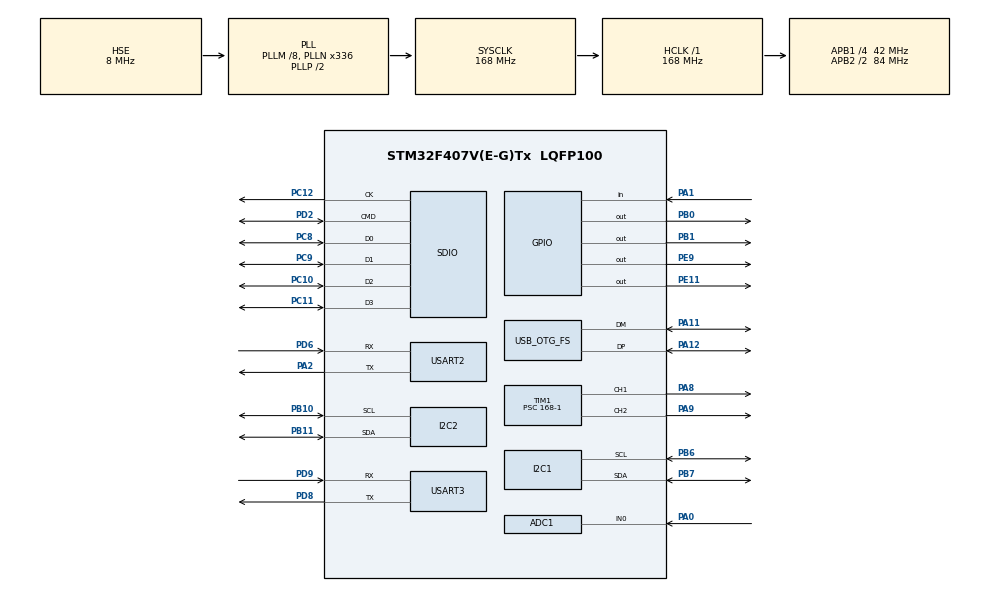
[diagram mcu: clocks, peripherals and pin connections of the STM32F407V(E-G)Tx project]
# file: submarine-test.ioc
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ADC1.Channel-2\#ChannelRegularConversion=ADC_CHANNEL_0
ADC1.NbrOfConversionFlag=1
ADC1.Rank-2\#ChannelRegularConversion=1
ADC1.SamplingTime-2\#ChannelRegularConversion=ADC_SAMPLETIME_3CYCLES
ADC1.master=1
Dma.Request0=SDIO_RX
Dma.Request1=SDIO_TX
Dma.SDIO_RX.0.Direction=DMA_PERIPH_TO_MEMORY
Dma.SDIO_RX.0.FIFOMode=DMA_FIFOMODE_ENABLE
Dma.SDIO_RX.0.FIFOThreshold=DMA_FIFO_THRESHOLD_FULL
Dma.SDIO_RX.0.Instance=DMA2_Stream3
Dma.SDIO_RX.0.MemBurst=DMA_MBURST_INC4
Dma.SDIO_RX.0.MemDataAlignment=DMA_MDATAALIGN_WORD
Dma.SDIO_RX.0.MemInc=DMA_MINC_ENABLE
Dma.SDIO_RX.0.Mode=DMA_PFCTRL
Dma.SDIO_RX.0.PeriphBurst=DMA_PBURST_INC4
Dma.SDIO_RX.0.PeriphDataAlignment=DMA_PDATAALIGN_WORD
Dma.SDIO_RX.0.PeriphInc=DMA_PINC_DISABLE
Dma.SDIO_RX.0.Priority=DMA_PRIORITY_LOW
Dma.SDIO_TX.1.Direction=DMA_MEMORY_TO_PERIPH
Dma.SDIO_TX.1.FIFOMode=DMA_FIFOMODE_ENABLE
Dma.SDIO_TX.1.FIFOThreshold=DMA_FIFO_THRESHOLD_FULL
Dma.SDIO_TX.1.Instance=DMA2_Stream6
Dma.SDIO_TX.1.MemBurst=DMA_MBURST_INC4
Dma.SDIO_TX.1.MemDataAlignment=DMA_MDATAALIGN_WORD
Dma.SDIO_TX.1.MemInc=DMA_MINC_ENABLE
Dma.SDIO_TX.1.Mode=DMA_PFCTRL
Dma.SDIO_TX.1.PeriphBurst=DMA_PBURST_INC4
Dma.SDIO_TX.1.PeriphDataAlignment=DMA_PDATAALIGN_WORD
Dma.SDIO_TX.1.PeriphInc=DMA_PINC_DISABLE
Dma.SDIO_TX.1.Priority=DMA_PRIORITY_LOW
FATFS._MAX_SS=4096
FATFS._USE_LFN=1
Mcu.Family=STM32F4
Mcu.Name=STM32F407V(E-G)Tx
Mcu.Package=LQFP100
NVIC.DMA2_Stream3_IRQn=true\:0\:0\:false\:false\:true\:false\:true\:true
NVIC.DMA2_Stream6_IRQn=true\:0\:0\:false\:false\:true\:false\:true\:true
NVIC.OTG_FS_IRQn=true\:0\:0\:false\:false\:true\:false\:true\:true
NVIC.PriorityGroup=NVIC_PRIORITYGROUP_4
NVIC.SDIO_IRQn=true\:0\:0\:false\:false\:true\:true\:true\:true
NVIC.USART2_IRQn=true\:0\:0\:false\:false\:true\:true\:true\:true
NVIC.USART3_IRQn=true\:0\:0\:false\:false\:true\:true\:true\:true
PA0-WKUP.Signal=ADCx_IN0
PA1.Signal=GPIO_Input
PA11.Mode=Device_Only
PA11.Signal=USB_OTG_FS_DM
PA12.Mode=Device_Only
PA12.Signal=USB_OTG_FS_DP
PA13.Mode=Trace_Asynchronous_SW
PA13.Signal=SYS_JTMS-SWDIO
PA14.Mode=Trace_Asynchronous_SW
PA14.Signal=SYS_JTCK-SWCLK
PA2.Mode=Asynchronous
PA2.Signal=USART2_TX
PA8.Signal=S_TIM1_CH1
PA9.Signal=S_TIM1_CH2
PB0.Signal=GPIO_Output
PB1.Signal=GPIO_Output
PB10.Mode=I2C
PB10.Signal=I2C2_SCL
PB11.Mode=I2C
PB11.Signal=I2C2_SDA
PB3.Mode=Trace_Asynchronous_SW
PB3.Signal=SYS_JTDO-SWO
PB6.Mode=I2C
PB6.Signal=I2C1_SCL
PB7.Mode=I2C
PB7.Signal=I2C1_SDA
PC10.Mode=SD_4_bits_Wide_bus
PC10.Signal=SDIO_D2
PC11.Mode=SD_4_bits_Wide_bus
PC11.Signal=SDIO_D3
PC12.Mode=SD_4_bits_Wide_bus
PC12.Signal=SDIO_CK
PC8.Mode=SD_4_bits_Wide_bus
PC8.Signal=SDIO_D0
PC9.Mode=SD_4_bits_Wide_bus
PC9.Signal=SDIO_D1
PD2.Mode=SD_4_bits_Wide_bus
PD2.Signal=SDIO_CMD
PD6.Mode=Asynchronous
PD6.Signal=USART2_RX
PD8.Mode=Asynchronous
PD8.Signal=USART3_TX
PD9.Mode=Asynchronous
PD9.Signal=USART3_RX
PE11.Signal=GPIO_Output
PE9.Signal=GPIO_Output
PH0-OSC_IN.Mode=HSE-External-Oscillator
PH0-OSC_IN.Signal=RCC_OSC_IN
PH1-OSC_OUT.Mode=HSE-External-Oscillator
PH1-OSC_OUT.Signal=RCC_OSC_OUT
ProjectManager.HeapSize=0x200
ProjectManager.StackSize=0x400
ProjectManager.TargetToolchain=STM32CubeIDE
RCC.48MHZClocksFreq_Value=48000000
RCC.AHBFreq_Value=168000000
RCC.APB1CLKDivider=RCC_HCLK_DIV4
RCC.APB1Freq_Value=42000000
RCC.APB1TimFreq_Value=84000000
RCC.APB2CLKDivider=RCC_HCLK_DIV2
RCC.APB2Freq_Value=84000000
RCC.APB2TimFreq_Value=168000000
RCC.CortexFreq_Value=168000000
RCC.HCLKFreq_Value=168000000
RCC.HSE_VALUE=8000000
RCC.HSI_VALUE=16000000
RCC.LSE_VALUE=32768
RCC.PLLM=8
RCC.PLLN=336
RCC.PLLQ=7
RCC.SYSCLKFreq_VALUE=168000000
RCC.SYSCLKSource=RCC_SYSCLKSOURCE_PLLCLK
RCC.VCOOutputFreq_Value=336000000
SH.ADCx_IN0.0=ADC1_IN0,IN0
SH.S_TIM1_CH1.0=TIM1_CH1,PWM Generation1 CH1
SH.S_TIM1_CH2.0=TIM1_CH2,PWM Generation2 CH2
TIM1.Channel-PWM\ Generation1\ CH1=TIM_CHANNEL_1
TIM1.Channel-PWM\ Generation2\ CH2=TIM_CHANNEL_2
TIM1.Period=1000
TIM1.Prescaler=168-1
TIM2.Period=65535
TIM2.Prescaler=168-1
USART2.VirtualMode=VM_ASYNC
USART3.VirtualMode=VM_ASYNC
USB_DEVICE.CLASS_NAME_FS=CDC
USB_DEVICE.VirtualMode-CDC_FS=Cdc
USB_DEVICE.VirtualModeFS=Cdc_FS
USB_OTG_FS.VirtualMode=Device_Only
VP_FATFS_VS_SDIO.Mode=SDIO
VP_RTC_VS_RTC_Activate.Mode=RTC_Enabled
VP_RTC_VS_RTC_Calendar.Mode=RTC_Calendar
VP_TIM2_VS_ClockSourceINT.Mode=Internal
VP_USB_DEVICE_VS_USB_DEVICE_CDC_FS.Mode=CDC_FS
board=custom

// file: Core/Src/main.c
/* USER CODE BEGIN Header */
/**
  ******************************************************************************
  * @file           : main.c
  * @brief          : Main program body
  ******************************************************************************
  * @attention
  *
  * Copyright (c) 2025 STMicroelectronics.
  * All rights reserved.
  *
  * This software is licensed under terms that can be found in the LICENSE file
  * in the root directory of this software component.
  * If no LICENSE file comes with this software, it is provided AS-IS.
  *
  ******************************************************************************
  */
/* USER CODE END Header */
#include "main.h"
#include "fatfs.h"
#include "usb_device.h"

/* USER CODE BEGIN Includes */
#include <stdio.h>
#include <string.h>
#include <stdlib.h>
#include <stdbool.h>
#include <math.h>
#include "usbd_cdc_if.h"
#include "app/esp32_comm.h"
#include "app/app.h"
#include "app/stm32_sdlog_receiver.h"

extern RTC_HandleTypeDef hrtc; // (Uncomment after generating RTC in CubeMX)
/* USER CODE END Includes */

/* USER CODE BEGIN PD */
#define UART_HANDLE huart2
#define RX_BUFFER_SIZE 128
/* USER CODE END PD */

ADC_HandleTypeDef hadc1;

I2C_HandleTypeDef hi2c1;
I2C_HandleTypeDef hi2c2;

RTC_HandleTypeDef hrtc;

SD_HandleTypeDef hsd;
DMA_HandleTypeDef hdma_sdio_rx;
DMA_HandleTypeDef hdma_sdio_tx;

TIM_HandleTypeDef htim1;
TIM_HandleTypeDef htim2;

UART_HandleTypeDef huart2;
UART_HandleTypeDef huart3;

/* USER CODE BEGIN PV */
    // Check current mode
volatile bool g_esp_line_received = false;
char g_esp_process_buffer[RX_BUFFER_SIZE];
GliderState g_glider_state; // Global glider state variable

// --- Non-blocking Delay Variables ---
uint32_t g_last_tx_time = 0;
const uint32_t TX_INTERVAL_MS = 1000; // 1 second (Changed back from 1 minute)
    // Check calibration status
// --- IMU Variables ---
uint8_t bno_data[6];
uint8_t mpu_data[14];
int16_t raw_pitch, raw_roll, raw_yaw;
float pitch, roll, yaw;
uint8_t bno_i2c_addr = 0x28;  // Default BNO055 address
uint8_t mpu_i2c_addr = 0x69;  // MPU9250 address confirmed by user
uint8_t mag_i2c_addr = 0x0C;  // MPU9250 Magnetometer address
bool is_mpu9250 = false;

// UART RX (used if UART interrupt re-enabled)
uint8_t g_rx_data;
uint8_t g_rx_buffer[RX_BUFFER_SIZE];
uint16_t g_rx_index = 0;
uint8_t esp_rx_data;
uint8_t esp_rx_buffer[RX_BUFFER_SIZE];
uint16_t esp_rx_index = 0;
uint32_t g_esp_total_bytes = 0; // ESP32 total received bytes check

volatile bool g_line_received = false;
char g_process_buffer[RX_BUFFER_SIZE];

// Uncomment the below variables after generating FATFS in CubeMX
    // Check current mode
// FIL file;
// FRESULT fres;
/* USER CODE END PV */

void SystemClock_Config(void);
static void MX_GPIO_Init(void);
static void MX_DMA_Init(void);
static void MX_USART2_UART_Init(void);
static void MX_TIM2_Init(void);
static void MX_I2C1_Init(void);
static void MX_ADC1_Init(void);
static void MX_I2C2_Init(void);
static void MX_TIM1_Init(void);
static void MX_USART3_UART_Init(void);
static void MX_RTC_Init(void);
static void MX_SDIO_SD_Init(void);
/* USER CODE BEGIN PFP */
void ESP32_Process_Data(const char* data);
void send_log(const char* message);
/* USER CODE END PFP */

int main(void)
{

  /* USER CODE BEGIN 1 */
  uint32_t adc_raw = 0;
  float oxygen_voltage = 0.0f;
  /* USER CODE END 1 */

  /* MCU Configuration--------------------------------------------------------*/

  /* Reset of all peripherals, Initializes the Flash interface and the Systick. */
  HAL_Init();

  /* Configure the system clock */
  SystemClock_Config();

  /* Initialize all configured peripherals */
  MX_GPIO_Init();
  MX_DMA_Init();
  MX_USB_DEVICE_Init();
  MX_USART2_UART_Init();
  MX_TIM2_Init();
  MX_I2C1_Init();
  MX_ADC1_Init();
  MX_I2C2_Init();
  MX_TIM1_Init();
  MX_USART3_UART_Init();
  MX_RTC_Init();
  MX_SDIO_SD_Init();
  MX_FATFS_Init();
  /* USER CODE BEGIN 2 */
  if (sdlog_init() == HAL_OK) {         // (Added)
       send_log("[SD] SD card mounted OK\r\n");
   } else {
       send_log("[SD] SD card mount FAILED\r\n");
   }
  /* USER CODE BEGIN 2 */
  // Initialize glider state
  memset(&g_glider_state, 0, sizeof(GliderState));
  g_glider_state.status = 0; // 0: Normal
  g_glider_state.is_motor_on = false;
  App_Init();
  // Initialize random seed
  srand(HAL_GetTick());

  // Start UART reception in interrupt mode
  HAL_UART_Receive_IT(&huart2, &g_rx_data, 1);

  HAL_UART_Receive_IT(&huart3, &esp_rx_data, 1);
  send_log("--- SYSTEM READY (115200 BAUD) ---\r\n");
  // Scan I2C bus for devices
  send_log("[I2C] Scanning bus...\r\n");
  HAL_Delay(100);
  int found = 0;
  for(uint8_t addr = 1; addr < 128; addr++)
  {
      if(HAL_I2C_IsDeviceReady(&hi2c1, addr << 1, 1, 10) == HAL_OK)
      {
          char msg[50];
          snprintf(msg, sizeof(msg), "[I2C] Device found at 0x%02X\r\n", addr);
          send_log(msg);
          found++;
      }
  }
  if(found == 0)
  {
      send_log("[I2C] No devices found - check wiring!\r\n");
  }

  // Check detected addresses (0x0C, 0x69 might be MPU9250)
  if (found > 0) {
      send_log("[INFO] 0x69/0x0C detected? (Possible MPU9250)\r\n");
  }

  // Initialize BNO055 IMU
  HAL_Delay(100);
  uint8_t bno_id = 0;

  // Try address 0x28 first
  if(HAL_I2C_Mem_Read(&hi2c1, (0x28 << 1), 0x00, 1, &bno_id, 1, 100) == HAL_OK && bno_id == 0xA0)
  {
      bno_i2c_addr = 0x28;
      send_log("[IMU] BNO055 detected at 0x28\r\n");

      // Set to CONFIG mode
      uint8_t config_mode = 0x00;
      HAL_I2C_Mem_Write(&hi2c1, (bno_i2c_addr << 1), 0x3D, 1, &config_mode, 1, 100);
      HAL_Delay(25);

      // Set to NDOF mode (9-axis fusion)
      uint8_t ndof_mode = 0x0C;
      HAL_I2C_Mem_Write(&hi2c1, (bno_i2c_addr << 1), 0x3D, 1, &ndof_mode, 1, 100);
      HAL_Delay(100);  // Increased delay for sensor stabilization

      // Check current mode
      uint8_t current_mode = 0;
      HAL_I2C_Mem_Read(&hi2c1, (bno_i2c_addr << 1), 0x3D, 1, &current_mode, 1, 100);
      char mode_msg[50];
      snprintf(mode_msg, sizeof(mode_msg), "[IMU] Mode: 0x%02X\r\n", current_mode);
      send_log(mode_msg);

      // Check calibration status
      uint8_t calib = 0;
      HAL_I2C_Mem_Read(&hi2c1, (bno_i2c_addr << 1), 0x35, 1, &calib, 1, 100);
      char calib_msg[50];
      snprintf(calib_msg, sizeof(calib_msg), "[IMU] Calib: 0x%02X\r\n", calib);
      send_log(calib_msg);

      send_log("[IMU] Initialized OK\r\n");
  }
  // Try address 0x29
  else if(HAL_I2C_Mem_Read(&hi2c1, (0x29 << 1), 0x00, 1, &bno_id, 1, 100) == HAL_OK && bno_id == 0xA0)
  {
      bno_i2c_addr = 0x29;
      send_log("[IMU] BNO055 detected at 0x29\r\n");

      uint8_t config_mode = 0x00;
      HAL_I2C_Mem_Write(&hi2c1, (bno_i2c_addr << 1), 0x3D, 1, &config_mode, 1, 100);
      HAL_Delay(25);

      uint8_t ndof_mode = 0x0C;
      HAL_I2C_Mem_Write(&hi2c1, (bno_i2c_addr << 1), 0x3D, 1, &ndof_mode, 1, 100);
      HAL_Delay(100);  // Increased delay

      // Check current mode
      uint8_t current_mode = 0;
      HAL_I2C_Mem_Read(&hi2c1, (bno_i2c_addr << 1), 0x3D, 1, &current_mode, 1, 100);
      char mode_msg[50];
      snprintf(mode_msg, sizeof(mode_msg), "[IMU] Mode: 0x%02X\r\n", current_mode);
      send_log(mode_msg);

      send_log("[IMU] Initialized OK at 0x29\r\n");
  }
  else
  {
      send_log("[IMU] BNO055 Not found (0x28/0x29) - Checking for MPU9250...\r\n");

      uint8_t mpu_id = 0;
      // Try reading WHO_AM_I (0x75) from 0x69
      HAL_StatusTypeDef mpu_status = HAL_I2C_Mem_Read(&hi2c1, (mpu_i2c_addr << 1), 0x75, 1, &mpu_id, 1, 100);

      if(mpu_status == HAL_OK && (mpu_id == 0x71 || mpu_id == 0x70 || mpu_id == 0x11))
      {
          is_mpu9250 = true;
          char m_msg[50];
          snprintf(m_msg, sizeof(m_msg), "[IMU] MPU9250 detected! ID: 0x%02X\r\n", mpu_id);
          send_log(m_msg);

          uint8_t data = 0;
          // Reset
          data = 0x80;
          HAL_I2C_Mem_Write(&hi2c1, (mpu_i2c_addr << 1), 0x6B, 1, &data, 1, 100);
          HAL_Delay(100);

          // Wake up, clock source auto
          data = 0x01;
          HAL_I2C_Mem_Write(&hi2c1, (mpu_i2c_addr << 1), 0x6B, 1, &data, 1, 100);
          HAL_Delay(10);

          // Config DLPF
          data = 0x03;
          HAL_I2C_Mem_Write(&hi2c1, (mpu_i2c_addr << 1), 0x1A, 1, &data, 1, 100);

          // Gyro 2000 dps
          data = 0x18;
          HAL_I2C_Mem_Write(&hi2c1, (mpu_i2c_addr << 1), 0x1B, 1, &data, 1, 100);

          // Accel 4g
          data = 0x08;
          HAL_I2C_Mem_Write(&hi2c1, (mpu_i2c_addr << 1), 0x1C, 1, &data, 1, 100);

          // Enable I2C bypass for Magnetometer
          data = 0x02;
          HAL_I2C_Mem_Write(&hi2c1, (mpu_i2c_addr << 1), 0x37, 1, &data, 1, 100);
          HAL_Delay(10);

          // Init Magnetometer (AK8963)
          data = 0x16; // 16-bit output, 100Hz continuous measurement
          if(HAL_I2C_Mem_Write(&hi2c1, (mag_i2c_addr << 1), 0x0A, 1, &data, 1, 100) == HAL_OK)
          {
              send_log("[IMU] AK8963 Magnetometer initialized\r\n");
          }

          send_log("[IMU] MPU9250 Initialized OK\r\n");
      }
      else
      {
          char err_msg[100];
          snprintf(err_msg, sizeof(err_msg), "[IMU] MPU9250 Read Error! Status: %d, ID: 0x%02X\r\n", mpu_status, mpu_id);
          send_log(err_msg);
          send_log("[IMU] No IMU found! (BNO055/MPU9250)\r\n");
      }
  }
  /* USER CODE END 2 */

  /* Infinite loop */
  while (1)
  {

    /* USER CODE BEGIN 3 */
    App_Tick();
    sdlog_task();
    if (g_emergencyAscent) {   // (Added: Emergency ascent processing)
            send_log("[EMERGENCY] Ascent command received!\r\n");
            App_EmergencyAscent();
            g_emergencyAscent = 0;
        }
    // --- TASK: Handle incoming serial data from PC or ESP32 ---
    if (g_line_received) {
            process_serial_command((uint8_t*)g_process_buffer, strlen(g_process_buffer));
            g_line_received = false;
        }

        // --- 🌟 Log all data coming from ESP32 🌟 ---
        if (g_esp_line_received) {
            // [1] Print whatever comes in to PC(UART2) unconditionally!
            char raw_log[RX_BUFFER_SIZE + 32];
            snprintf(raw_log, sizeof(raw_log), ">>> [FROM ESP32]: %s\r\n", g_esp_process_buffer);
            send_log(raw_log);

            // [2] Perform existing data analysis (SDLOG check, etc.)
            ESP32_Process_Data(g_esp_process_buffer);

            // [3] LoRa command relay processing
            if (strncmp(g_esp_process_buffer, "CMD:RUN", 7) == 0) {
                App_SetRunMode(1);
            } else if (strncmp(g_esp_process_buffer, "CMD:STOP", 8) == 0) {
                App_SetRunMode(0);
            }

            g_esp_line_received = false; // Processing complete
        }

    // --- 1. Non-blocking sensor data transmission every second ---
    uint32_t current_time = HAL_GetTick();
    if (current_time - g_last_tx_time >= TX_INTERVAL_MS)
    {
        g_last_tx_time = current_time;

        // --- TASK 1: Periodic Depth Reading & Transmission ---
        float ms5837_depth = 1.5f;
        float ms5837_temp = 20.3f;

        int ms_d_int = (int)ms5837_depth;
        int ms_d_dec = (int)((ms5837_depth - ms_d_int) * 100);
        int ms_t_int = (int)ms5837_temp;
        int ms_t_dec = (int)((ms5837_temp - ms_t_int) * 100);

        char depth_msg[50];
        snprintf(depth_msg, sizeof(depth_msg), "D:%d.%02d,T:%d.%02d\n", ms_d_int, ms_d_dec, ms_t_int, ms_t_dec);
        HAL_UART_Transmit(&huart2, (uint8_t*)depth_msg, strlen(depth_msg), 100);

        // 1. Read IMU data
        if (!is_mpu9250)
        {
            // BNO055 Reading
            HAL_StatusTypeDef status = HAL_I2C_Mem_Read(&hi2c1, (bno_i2c_addr << 1), 0x1A, 1, bno_data, 6, 100);
            if(status == HAL_OK)
            {
                raw_yaw   = (int16_t)((bno_data[1] << 8) | bno_data[0]);
                raw_roll  = (int16_t)((bno_data[3] << 8) | bno_data[2]);
                raw_pitch = (int16_t)((bno_data[5] << 8) | bno_data[4]);

                yaw   = (float)raw_yaw / 16.0f;
                roll  = (float)raw_roll / 16.0f;
                pitch = (float)raw_pitch / 16.0f;
            }
        }
        else
        {
            // MPU9250 Reading (Accel + Gyro)
            if(HAL_I2C_Mem_Read(&hi2c1, (mpu_i2c_addr << 1), 0x3B, 1, mpu_data, 14, 100) == HAL_OK)
            {
                int16_t ax = (int16_t)((mpu_data[0] << 8) | mpu_data[1]);
                int16_t ay = (int16_t)((mpu_data[2] << 8) | mpu_data[3]);
                int16_t az = (int16_t)((mpu_data[4] << 8) | mpu_data[5]);

                pitch = atan2f((float)ay, sqrtf((float)ax*ax + (float)az*az)) * 57.29578f;
                roll  = atan2f(-(float)ax, (float)az) * 57.29578f;

                uint8_t mag_status = 0;
                HAL_I2C_Mem_Read(&hi2c1, (mag_i2c_addr << 1), 0x02, 1, &mag_status, 1, 100);
                if(mag_status & 0x01) {
                    uint8_t mag_data[7];
                    if(HAL_I2C_Mem_Read(&hi2c1, (mag_i2c_addr << 1), 0x03, 1, mag_data, 7, 100) == HAL_OK) {
                        int16_t mx = (int16_t)((mag_data[1] << 8) | mag_data[0]);
                        int16_t my = (int16_t)((mag_data[3] << 8) | mag_data[2]);
                        yaw = atan2f((float)my, (float)mx) * 57.29578f;
                    }
                }

                int p_i = (int)pitch; int p_d = (int)((pitch - p_i) * 10); if(p_d < 0) p_d = -p_d;
                int r_i = (int)roll;  int r_d = (int)((roll - r_i) * 10);  if(r_d < 0) r_d = -r_d;
                int y_i = (int)yaw;   int y_d = (int)((yaw - y_i) * 10);   if(y_d < 0) y_d = -y_d;

                char dbg[100];
                snprintf(dbg, sizeof(dbg), "[MPU] Acc: %d,%d,%d | P:%d.%d R:%d.%d Y:%d.%d\r\n", ax, ay, az, p_i, p_d, r_i, r_d, y_i, y_d);
                send_log(dbg);
            }
        }

        // ADC Oxygen Sensor Reading
        // 1. Start ADC
        HAL_ADC_Start(&hadc1);

        // 2. Wait for conversion complete (timeout 10ms)
        if (HAL_ADC_PollForConversion(&hadc1, 10) == HAL_OK)
        {
            // 3. Read digital value (0 ~ 4095)
            adc_raw = HAL_ADC_GetValue(&hadc1);

            // 4. Convert to voltage value (3.3V reference)
            // Formula: V = (ADC_Value * 3.3) / 4095
            oxygen_voltage = (float)adc_raw * (3.3f / 4095.0f);
        }
        // 5. Stop ADC
        HAL_ADC_Stop(&hadc1);

        // 2. Get simulated sensor data
        get_simulated_sensors(&g_glider_state.sensors);
        g_glider_state.status = rand() % 3;
        g_glider_state.tinyml_result = rand() % 2;

        // 3. Format and send all data (Manually format floats for compatibility)
        int v_int = (int)g_glider_state.sensors.voltage;
        int v_dec = (int)((g_glider_state.sensors.voltage - v_int) * 100);
        if (v_dec < 0) v_dec = -v_dec;

        int d_int = (int)g_glider_state.sensors.depth;
        int d_dec = (int)((g_glider_state.sensors.depth - d_int) * 100);
        if (d_dec < 0) d_dec = -d_dec;

        int p_int = (int)pitch;
        int p_dec = (int)((pitch - p_int) * 100);
        if (p_dec < 0) p_dec = -p_dec;

        int r_int = (int)roll;
        int r_dec = (int)((roll - r_int) * 100);
        if (r_dec < 0) r_dec = -r_dec;

        int y_int = (int)yaw;
        int y_dec = (int)((yaw - y_int) * 100);
        if (y_dec < 0) y_dec = -y_dec;

        int o2_v_int = (int)oxygen_voltage;
        int o2_v_dec = (int)((oxygen_voltage - o2_v_int) * 1000); // 3 decimal places
        if (o2_v_dec < 0) o2_v_dec = -o2_v_dec;

        char tx_buffer[256];
        snprintf(tx_buffer, sizeof(tx_buffer),
                 "[TELEMETRY] Y:%d.%02d R:%d.%02d P:%d.%02d | D:%d.%02d V:%d.%02d | O2:%d.%03dV St:%d ML:%d ADC:%lu | ESP_RX:%lu\r\n",
                 y_int, y_dec, r_int, r_dec, p_int, p_dec,
                 d_int, d_dec, v_int, v_dec,
                 o2_v_int, o2_v_dec,
                 g_glider_state.status,
                 g_glider_state.tinyml_result,
                 adc_raw,
                 g_esp_total_bytes);
        send_log(tx_buffer);

        // HAL_Delay(1000);
    }

    // --- 2. Other non-blocking tasks can be added here ---
  }
  /* USER CODE END 3 */
}

void SystemClock_Config(void)
{
  RCC_OscInitTypeDef RCC_OscInitStruct = {0};
  RCC_ClkInitTypeDef RCC_ClkInitStruct = {0};

  /** Configure the main internal regulator output voltage
  */
  __HAL_RCC_PWR_CLK_ENABLE();
  __HAL_PWR_VOLTAGESCALING_CONFIG(PWR_REGULATOR_VOLTAGE_SCALE1);

  /** Initializes the RCC Oscillators according to the specified parameters
  * in the RCC_OscInitTypeDef structure.
  */
  RCC_OscInitStruct.OscillatorType = RCC_OSCILLATORTYPE_LSI|RCC_OSCILLATORTYPE_HSE;
  RCC_OscInitStruct.HSEState = RCC_HSE_ON;
  RCC_OscInitStruct.LSIState = RCC_LSI_ON;
  RCC_OscInitStruct.PLL.PLLState = RCC_PLL_ON;
  RCC_OscInitStruct.PLL.PLLSource = RCC_PLLSOURCE_HSE;
  RCC_OscInitStruct.PLL.PLLM = 8;
  RCC_OscInitStruct.PLL.PLLN = 336;
  RCC_OscInitStruct.PLL.PLLP = RCC_PLLP_DIV2;
  RCC_OscInitStruct.PLL.PLLQ = 7;
  if (HAL_RCC_OscConfig(&RCC_OscInitStruct) != HAL_OK)
  {
    Error_Handler();
  }

  /** Initializes the CPU, AHB and APB buses clocks
  */
  RCC_ClkInitStruct.ClockType = RCC_CLOCKTYPE_HCLK|RCC_CLOCKTYPE_SYSCLK
                              |RCC_CLOCKTYPE_PCLK1|RCC_CLOCKTYPE_PCLK2;
  RCC_ClkInitStruct.SYSCLKSource = RCC_SYSCLKSOURCE_PLLCLK;
  RCC_ClkInitStruct.AHBCLKDivider = RCC_SYSCLK_DIV1;
  RCC_ClkInitStruct.APB1CLKDivider = RCC_HCLK_DIV4;
  RCC_ClkInitStruct.APB2CLKDivider = RCC_HCLK_DIV2;

  if (HAL_RCC_ClockConfig(&RCC_ClkInitStruct, FLASH_LATENCY_5) != HAL_OK)
  {
    Error_Handler();
  }
}

static void MX_ADC1_Init(void)
{

  ADC_ChannelConfTypeDef sConfig = {0};

  /** Configure the global features of the ADC (Clock, Resolution, Data Alignment and number of conversion)
  */
  hadc1.Instance = ADC1;
  hadc1.Init.ClockPrescaler = ADC_CLOCK_SYNC_PCLK_DIV4;
  hadc1.Init.Resolution = ADC_RESOLUTION_12B;
  hadc1.Init.ScanConvMode = DISABLE;
  hadc1.Init.ContinuousConvMode = DISABLE;
  hadc1.Init.DiscontinuousConvMode = DISABLE;
  hadc1.Init.ExternalTrigConvEdge = ADC_EXTERNALTRIGCONVEDGE_NONE;
  hadc1.Init.ExternalTrigConv = ADC_SOFTWARE_START;
  hadc1.Init.DataAlign = ADC_DATAALIGN_RIGHT;
  hadc1.Init.NbrOfConversion = 1;
  hadc1.Init.DMAContinuousRequests = DISABLE;
  hadc1.Init.EOCSelection = ADC_EOC_SINGLE_CONV;
  if (HAL_ADC_Init(&hadc1) != HAL_OK)
  {
    Error_Handler();
  }

  /** Configure for the selected ADC regular channel its corresponding rank in the sequencer and its sample time.
  */
  sConfig.Channel = ADC_CHANNEL_0;
  sConfig.Rank = 1;
  sConfig.SamplingTime = ADC_SAMPLETIME_3CYCLES;
  if (HAL_ADC_ConfigChannel(&hadc1, &sConfig) != HAL_OK)
  {
    Error_Handler();
  }
  /* USER CODE BEGIN ADC1_Init 2 */
  // PA0 must be ANALOG for ADC1_IN0 (O2 sensor)
  GPIO_InitTypeDef GPIO_InitStruct_adc = {0};
  GPIO_InitStruct_adc.Pin  = GPIO_PIN_0;
  GPIO_InitStruct_adc.Mode = GPIO_MODE_ANALOG;
  GPIO_InitStruct_adc.Pull = GPIO_NOPULL;
  HAL_GPIO_Init(GPIOA, &GPIO_InitStruct_adc);
  /* USER CODE END ADC1_Init 2 */

}

static void MX_I2C1_Init(void)
{

  hi2c1.Instance = I2C1;
  hi2c1.Init.ClockSpeed = 100000;
  hi2c1.Init.DutyCycle = I2C_DUTYCYCLE_2;
  hi2c1.Init.OwnAddress1 = 0;
  hi2c1.Init.AddressingMode = I2C_ADDRESSINGMODE_7BIT;
  hi2c1.Init.DualAddressMode = I2C_DUALADDRESS_DISABLE;
  hi2c1.Init.OwnAddress2 = 0;
  hi2c1.Init.GeneralCallMode = I2C_GENERALCALL_DISABLE;
  hi2c1.Init.NoStretchMode = I2C_NOSTRETCH_DISABLE;
  if (HAL_I2C_Init(&hi2c1) != HAL_OK)
  {
    Error_Handler();
  }

}

static void MX_I2C2_Init(void)
{

  hi2c2.Instance = I2C2;
  hi2c2.Init.ClockSpeed = 100000;
  hi2c2.Init.DutyCycle = I2C_DUTYCYCLE_2;
  hi2c2.Init.OwnAddress1 = 0;
  hi2c2.Init.AddressingMode = I2C_ADDRESSINGMODE_7BIT;
  hi2c2.Init.DualAddressMode = I2C_DUALADDRESS_DISABLE;
  hi2c2.Init.OwnAddress2 = 0;
  hi2c2.Init.GeneralCallMode = I2C_GENERALCALL_DISABLE;
  hi2c2.Init.NoStretchMode = I2C_NOSTRETCH_DISABLE;
  if (HAL_I2C_Init(&hi2c2) != HAL_OK)
  {
    Error_Handler();
  }

}

static void MX_RTC_Init(void)
{

  RTC_TimeTypeDef sTime = {0};
  RTC_DateTypeDef sDate = {0};

  /** Initialize RTC Only
  */
  hrtc.Instance = RTC;
  hrtc.Init.HourFormat = RTC_HOURFORMAT_24;
  hrtc.Init.AsynchPrediv = 127;
  hrtc.Init.SynchPrediv = 255;
  hrtc.Init.OutPut = RTC_OUTPUT_DISABLE;
  hrtc.Init.OutPutPolarity = RTC_OUTPUT_POLARITY_HIGH;
  hrtc.Init.OutPutType = RTC_OUTPUT_TYPE_OPENDRAIN;
  if (HAL_RTC_Init(&hrtc) != HAL_OK)
  {
    Error_Handler();
  }

  /** Initialize RTC and set the Time and Date
  */
  sTime.Hours = 0x0;
  sTime.Minutes = 0x0;
  sTime.Seconds = 0x0;
  sTime.DayLightSaving = RTC_DAYLIGHTSAVING_NONE;
  sTime.StoreOperation = RTC_STOREOPERATION_RESET;
  if (HAL_RTC_SetTime(&hrtc, &sTime, RTC_FORMAT_BCD) != HAL_OK)
  {
    Error_Handler();
  }
  sDate.WeekDay = RTC_WEEKDAY_MONDAY;
  sDate.Month = RTC_MONTH_JANUARY;
  sDate.Date = 0x1;
  sDate.Year = 0x0;

  if (HAL_RTC_SetDate(&hrtc, &sDate, RTC_FORMAT_BCD) != HAL_OK)
  {
    Error_Handler();
  }

}

static void MX_SDIO_SD_Init(void)
{

  hsd.Instance = SDIO;
  hsd.Init.ClockEdge = SDIO_CLOCK_EDGE_RISING;
  hsd.Init.ClockBypass = SDIO_CLOCK_BYPASS_DISABLE;
  hsd.Init.ClockPowerSave = SDIO_CLOCK_POWER_SAVE_DISABLE;
  hsd.Init.BusWide = SDIO_BUS_WIDE_1B;
  hsd.Init.HardwareFlowControl = SDIO_HARDWARE_FLOW_CONTROL_DISABLE;
  hsd.Init.ClockDiv = 4;  // 8MHz (48MHz/6) - compatible with most SD cards, 0 is too fast

}

static void MX_TIM1_Init(void)
{

  TIM_MasterConfigTypeDef sMasterConfig = {0};
  TIM_OC_InitTypeDef sConfigOC = {0};
  TIM_BreakDeadTimeConfigTypeDef sBreakDeadTimeConfig = {0};

  htim1.Instance = TIM1;
  htim1.Init.Prescaler = 168-1;
  htim1.Init.CounterMode = TIM_COUNTERMODE_UP;
  htim1.Init.Period = 1000;
  htim1.Init.ClockDivision = TIM_CLOCKDIVISION_DIV1;
  htim1.Init.RepetitionCounter = 0;
  htim1.Init.AutoReloadPreload = TIM_AUTORELOAD_PRELOAD_DISABLE;
  if (HAL_TIM_PWM_Init(&htim1) != HAL_OK)
  {
    Error_Handler();
  }
  sMasterConfig.MasterOutputTrigger = TIM_TRGO_RESET;
  sMasterConfig.MasterSlaveMode = TIM_MASTERSLAVEMODE_DISABLE;
  if (HAL_TIMEx_MasterConfigSynchronization(&htim1, &sMasterConfig) != HAL_OK)
  {
    Error_Handler();
  }
  sConfigOC.OCMode = TIM_OCMODE_PWM1;
  sConfigOC.Pulse = 0;
  sConfigOC.OCPolarity = TIM_OCPOLARITY_HIGH;
  sConfigOC.OCNPolarity = TIM_OCNPOLARITY_HIGH;
  sConfigOC.OCFastMode = TIM_OCFAST_DISABLE;
  sConfigOC.OCIdleState = TIM_OCIDLESTATE_RESET;
  sConfigOC.OCNIdleState = TIM_OCNIDLESTATE_RESET;
  if (HAL_TIM_PWM_ConfigChannel(&htim1, &sConfigOC, TIM_CHANNEL_1) != HAL_OK)
  {
    Error_Handler();
  }
  if (HAL_TIM_PWM_ConfigChannel(&htim1, &sConfigOC, TIM_CHANNEL_2) != HAL_OK)
  {
    Error_Handler();
  }
  sBreakDeadTimeConfig.OffStateRunMode = TIM_OSSR_DISABLE;
  sBreakDeadTimeConfig.OffStateIDLEMode = TIM_OSSI_DISABLE;
  sBreakDeadTimeConfig.LockLevel = TIM_LOCKLEVEL_OFF;
  sBreakDeadTimeConfig.DeadTime = 0;
  sBreakDeadTimeConfig.BreakState = TIM_BREAK_DISABLE;
  sBreakDeadTimeConfig.BreakPolarity = TIM_BREAKPOLARITY_HIGH;
  sBreakDeadTimeConfig.AutomaticOutput = TIM_AUTOMATICOUTPUT_DISABLE;
  if (HAL_TIMEx_ConfigBreakDeadTime(&htim1, &sBreakDeadTimeConfig) != HAL_OK)
  {
    Error_Handler();
  }
  HAL_TIM_MspPostInit(&htim1);

}

static void MX_TIM2_Init(void)
{

  /* USER CODE BEGIN TIM2_Init 0 */
  __HAL_RCC_TIM2_CLK_ENABLE();
  /* USER CODE END TIM2_Init 0 */

  TIM_ClockConfigTypeDef sClockSourceConfig = {0};
  TIM_MasterConfigTypeDef sMasterConfig = {0};

  htim2.Instance = TIM2;
  htim2.Init.Prescaler = 168-1;
  htim2.Init.CounterMode = TIM_COUNTERMODE_UP;
  htim2.Init.Period = 65535;
  htim2.Init.ClockDivision = TIM_CLOCKDIVISION_DIV1;
  htim2.Init.AutoReloadPreload = TIM_AUTORELOAD_PRELOAD_DISABLE;
  if (HAL_TIM_Base_Init(&htim2) != HAL_OK)
  {
    Error_Handler();
  }
  sClockSourceConfig.ClockSource = TIM_CLOCKSOURCE_INTERNAL;
  if (HAL_TIM_ConfigClockSource(&htim2, &sClockSourceConfig) != HAL_OK)
  {
    Error_Handler();
  }
  sMasterConfig.MasterOutputTrigger = TIM_TRGO_RESET;
  sMasterConfig.MasterSlaveMode = TIM_MASTERSLAVEMODE_DISABLE;
  if (HAL_TIMEx_MasterConfigSynchronization(&htim2, &sMasterConfig) != HAL_OK)
  {
    Error_Handler();
  }

}

static void MX_USART2_UART_Init(void)
{

  huart2.Instance = USART2;
  huart2.Init.BaudRate = 115200;
  huart2.Init.WordLength = UART_WORDLENGTH_8B;
  huart2.Init.StopBits = UART_STOPBITS_1;
  huart2.Init.Parity = UART_PARITY_NONE;
  huart2.Init.Mode = UART_MODE_TX_RX;
  huart2.Init.HwFlowCtl = UART_HWCONTROL_NONE;
  huart2.Init.OverSampling = UART_OVERSAMPLING_16;
  if (HAL_UART_Init(&huart2) != HAL_OK)
  {
    Error_Handler();
  }

}

static void MX_USART3_UART_Init(void)
{

  huart3.Instance = USART3;
  huart3.Init.BaudRate = 115200;
  huart3.Init.WordLength = UART_WORDLENGTH_8B;
  huart3.Init.StopBits = UART_STOPBITS_1;
  huart3.Init.Parity = UART_PARITY_NONE;
  huart3.Init.Mode = UART_MODE_TX_RX;
  huart3.Init.HwFlowCtl = UART_HWCONTROL_NONE;
  huart3.Init.OverSampling = UART_OVERSAMPLING_16;
  if (HAL_UART_Init(&huart3) != HAL_OK)
  {
    Error_Handler();
  }

}

static void MX_DMA_Init(void)
{

  /* DMA controller clock enable */
  __HAL_RCC_DMA2_CLK_ENABLE();

  /* DMA interrupt init */
  /* DMA2_Stream3_IRQn interrupt configuration */
  HAL_NVIC_SetPriority(DMA2_Stream3_IRQn, 0, 0);
  HAL_NVIC_EnableIRQ(DMA2_Stream3_IRQn);
  /* DMA2_Stream6_IRQn interrupt configuration */
  HAL_NVIC_SetPriority(DMA2_Stream6_IRQn, 0, 0);
  HAL_NVIC_EnableIRQ(DMA2_Stream6_IRQn);

}

static void MX_GPIO_Init(void)
{
  GPIO_InitTypeDef GPIO_InitStruct = {0};

  /* GPIO Ports Clock Enable */
  __HAL_RCC_GPIOH_CLK_ENABLE();
  __HAL_RCC_GPIOA_CLK_ENABLE();
  __HAL_RCC_GPIOB_CLK_ENABLE();
  __HAL_RCC_GPIOE_CLK_ENABLE();
  __HAL_RCC_GPIOD_CLK_ENABLE();
  __HAL_RCC_GPIOC_CLK_ENABLE();

  /*Configure GPIO pin Output Level */
  HAL_GPIO_WritePin(GPIOB, GPIO_PIN_0|GPIO_PIN_1, GPIO_PIN_RESET);

  /*Configure GPIO pin Output Level */
  HAL_GPIO_WritePin(GPIOE, GPIO_PIN_9|GPIO_PIN_11, GPIO_PIN_RESET);

  /*Configure GPIO pin : PA1 */
  GPIO_InitStruct.Pin = GPIO_PIN_1;
  GPIO_InitStruct.Mode = GPIO_MODE_INPUT;
  GPIO_InitStruct.Pull = GPIO_NOPULL;
  HAL_GPIO_Init(GPIOA, &GPIO_InitStruct);

  /*Configure GPIO pins : PB0 PB1 */
  GPIO_InitStruct.Pin = GPIO_PIN_0|GPIO_PIN_1;
  GPIO_InitStruct.Mode = GPIO_MODE_OUTPUT_PP;
  GPIO_InitStruct.Pull = GPIO_NOPULL;
  GPIO_InitStruct.Speed = GPIO_SPEED_FREQ_LOW;
  HAL_GPIO_Init(GPIOB, &GPIO_InitStruct);

  /*Configure GPIO pins : PE9 PE11 */
  GPIO_InitStruct.Pin = GPIO_PIN_9|GPIO_PIN_11;
  GPIO_InitStruct.Mode = GPIO_MODE_OUTPUT_PP;
  GPIO_InitStruct.Pull = GPIO_NOPULL;
  GPIO_InitStruct.Speed = GPIO_SPEED_FREQ_LOW;
  HAL_GPIO_Init(GPIOE, &GPIO_InitStruct);

  /* USER CODE BEGIN MX_GPIO_Init_2 */
  // PA0 = ADC1_IN0 (O2 sensor), PA1 = ADC2_IN1 (LD20 buoyancy pot)
  // Both must be ANALOG - configured in MX_ADC1_Init / MX_ADC2_Init

  // Configure LED pins for STM32F407VET6 board
  // User LED 1: PA6, User LED 2: PA7 (both are sink mode - LOW to turn on)
  GPIO_InitStruct.Pin = GPIO_PIN_6|GPIO_PIN_7;
  GPIO_InitStruct.Mode = GPIO_MODE_OUTPUT_PP;
  GPIO_InitStruct.Pull = GPIO_NOPULL;
  GPIO_InitStruct.Speed = GPIO_SPEED_FREQ_LOW;
  HAL_GPIO_Init(GPIOA, &GPIO_InitStruct);

  // Turn off LEDs initially (HIGH = OFF for sink mode)
  HAL_GPIO_WritePin(GPIOA, GPIO_PIN_6|GPIO_PIN_7, GPIO_PIN_SET);

  // Motor driver direction pins (DFR0601)
  // Buoyancy actuator: INA=PB0, INB=PB1
  // Mass actuator:     INA=PB10, INB=PB11
  __HAL_RCC_GPIOB_CLK_ENABLE();
  GPIO_InitStruct.Pin   = GPIO_PIN_0|GPIO_PIN_1|GPIO_PIN_10|GPIO_PIN_11;
  GPIO_InitStruct.Mode  = GPIO_MODE_OUTPUT_PP;
  GPIO_InitStruct.Pull  = GPIO_NOPULL;
  GPIO_InitStruct.Speed = GPIO_SPEED_FREQ_LOW;
  HAL_GPIO_Init(GPIOB, &GPIO_InitStruct);
  // Start with both drivers stopped (INA=INB=0)
  HAL_GPIO_WritePin(GPIOB, GPIO_PIN_0|GPIO_PIN_1|GPIO_PIN_10|GPIO_PIN_11, GPIO_PIN_RESET);

  // Stepper motor direction pins (L298N)
  // PB12=IN1, PB13=IN2, PB14=IN3, PB15=IN4
  GPIO_InitStruct.Pin   = GPIO_PIN_12|GPIO_PIN_13|GPIO_PIN_14|GPIO_PIN_15;
  GPIO_InitStruct.Mode  = GPIO_MODE_OUTPUT_PP;
  GPIO_InitStruct.Pull  = GPIO_NOPULL;
  GPIO_InitStruct.Speed = GPIO_SPEED_FREQ_LOW;
  HAL_GPIO_Init(GPIOB, &GPIO_InitStruct);
  // De-energise all coils initially
  HAL_GPIO_WritePin(GPIOB, GPIO_PIN_12|GPIO_PIN_13|GPIO_PIN_14|GPIO_PIN_15, GPIO_PIN_RESET);

  /* USER CODE END MX_GPIO_Init_2 */
}

/* USER CODE BEGIN 4 */
/**
  * @brief  Logs a message via UART.
  * @param  message: The string to send.
  * @retval None
  */
/* ESP32_Process_Data is defined in Core/Src/app/esp32_comm.c.
   Add the call to sdlog_parse_and_save() in esp32_comm.c
   or call it directly from the esp_line_received block in main.c. */

void send_log(const char* message) {
    HAL_UART_Transmit(&UART_HANDLE, (uint8_t*)message, strlen(message), 100);
	CDC_Transmit_FS((uint8_t*)message, strlen(message));
}

/**
  * @brief  Generates simulated sensor data.
  * @param  sensors: Pointer to the GliderSensors struct to fill.
  * @retval None
  */
void get_simulated_sensors(GliderSensors *sensors)
{
    // 1. Voltage simulation (11.0V to 13.0V)
    sensors->voltage = 11.0f + (rand() % 201) / 100.0f;

    // 2. Depth simulation (0.0m to 50.0m, fluctuating up and down)
    static bool depth_increasing = true;
    float depth_change = (rand() % 51) / 100.0f; // 0.0m to 0.5m change

    if (depth_increasing) {
        sensors->depth += depth_change;
        if (sensors->depth >= 50.0f) {
            sensors->depth = 50.0f;
            depth_increasing = false;
        }
    } else {
        sensors->depth -= depth_change;
        if (sensors->depth <= 0.0f) {
            sensors->depth = 0.0f;
            depth_increasing = true;
        }
    }

    // 3. O2 saturation simulation (70.0% to 95.0%)
    sensors->o2 = 70.0f + (rand() % 2501) / 100.0f;
}

/**
  * @brief  Parses and processes a received serial command.
  * @param  buffer: The received data buffer.
  * @param  len: The length of the data.
  * @retval None
  */
void process_serial_command(uint8_t* buffer, uint16_t len)
{
    if (len > 0 && len < RX_BUFFER_SIZE) {
        buffer[len] = '\0'; // Null-terminate the string
    }

    if (strcmp((char*)buffer, "CMD:MOTOR_ON") == 0)
    {
        App_State()->is_motor_on = true;
        send_log("[CMD] Motor Started\r\n");
    }
    else if (strcmp((char*)buffer, "CMD:MOTOR_OFF") == 0)
    {
        App_State()->is_motor_on = false;
        send_log("[CMD] Motor Stopped\r\n");
    }
    else if (strcmp((char*)buffer, "CMD:LED_TOGGLE") == 0)
    {
//        HAL_GPIO_TogglePin(LED_GPIO_Port, LED_Pin);
        send_log("[CMD] LED Toggled\r\n");
    }
    else
    {
        send_log("[CMD] Unknown command\r\n");
    }
}

/**
  * @brief  UART reception complete callback.
  * @param  huart: UART handle.
  * @retval None
  */
/* USER CODE BEGIN 4 */
// ... (existed process_serial_command keep) ...

void HAL_UART_RxCpltCallback(UART_HandleTypeDef *huart)
{
    // =======================================================
    // 1. PC monitoring and command reception (huart2)
    // =======================================================
    if (huart->Instance == huart2.Instance)
    {
        if (g_rx_data == '\n' || g_rx_data == '\r')
        {
            if (g_rx_index > 0)
            {
                process_serial_command(g_rx_buffer, g_rx_index);
                g_rx_index = 0;
                memset(g_rx_buffer, 0, RX_BUFFER_SIZE);
            }
        }
        else
        {
            if (g_rx_index < RX_BUFFER_SIZE - 1) g_rx_buffer[g_rx_index++] = g_rx_data;
        }
        HAL_UART_Receive_IT(&huart2, &g_rx_data, 1);
    }

    // =======================================================
    // 2. ESP32 sensor data reception (huart3) - 🌟 Newly added 🌟
    // =======================================================
    else if (huart->Instance == huart3.Instance)
    {
    	sdlog_check_emergency_byte(esp_rx_data);
        if (esp_rx_data == '\n' || esp_rx_data == '\r')
        {
            if (esp_rx_index > 0)
            {
                esp_rx_buffer[esp_rx_index] = '\0';

                // When data arrives from ESP32, put into g_esp_process_buffer and flag ON!
                if (!g_esp_line_received)
                {
                    strncpy(g_esp_process_buffer, (char*)esp_rx_buffer, RX_BUFFER_SIZE);
                    g_esp_line_received = true; // Flag ON!
                }
                esp_rx_index = 0;
                memset(esp_rx_buffer, 0, RX_BUFFER_SIZE);
            }
        }
        else
        {
            g_esp_total_bytes++; // Increment byte count
            if (esp_rx_index < RX_BUFFER_SIZE - 1)
            {
                esp_rx_buffer[esp_rx_index++] = esp_rx_data;
            }
            else
            {
                // Force processing if buffer is full (In case a line is too long)
                esp_rx_buffer[RX_BUFFER_SIZE - 1] = '\0';
                if (!g_esp_line_received)
                {
                    strncpy(g_esp_process_buffer, (char*)esp_rx_buffer, RX_BUFFER_SIZE);
                    g_esp_line_received = true;
                }
                esp_rx_index = 0;
            }
        }
        HAL_UART_Receive_IT(&huart3, &esp_rx_data, 1);
    }
}
/* USER CODE END 4 */

void Error_Handler(void)
{
  /* USER CODE BEGIN Error_Handler_Debug */
  /* User can add his own implementation to report the HAL error return state */
  // __disable_irq();  // Disabled: kills USB IRQ, preventing CDC serial from working
  while (1)
  {
  }
  /* USER CODE END Error_Handler_Debug */
}
